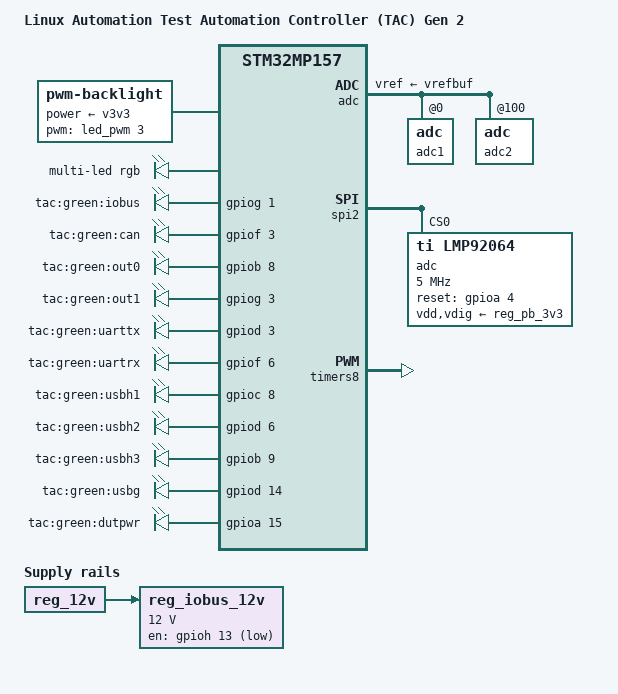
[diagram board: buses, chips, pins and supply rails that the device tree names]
// SPDX-License-Identifier: (GPL-2.0-or-later OR BSD-3-Clause)
/*
 * Copyright (C) 2020 STMicroelectronics - All Rights Reserved
 * Copyright (C) 2021 Rouven Czerwinski, Pengutronix
 * Copyright (C) 2023 Leonard Göhrs, Pengutronix
 */

/dts-v1/;

#include "stm32mp157.dtsi"
#include "stm32mp15xc-lxa-tac.dtsi"

/ {
	model = "Linux Automation Test Automation Controller (TAC) Gen 2";
	compatible = "lxa,stm32mp157c-tac-gen2", "oct,stm32mp15xx-osd32", "st,stm32mp157";

	backlight: backlight {
		compatible = "pwm-backlight";
		power-supply = <&v3v3>;

		brightness-levels = <0 31 63 95 127 159 191 223 255>;
		default-brightness-level = <7>;
		pwms = <&led_pwm 3 1000000 0>;
	};

	reg_iobus_12v: regulator-iobus-12v {
		compatible = "regulator-fixed";
		vin-supply = <&reg_12v>;
		gpio = <&gpioh 13 GPIO_ACTIVE_LOW>;
		regulator-max-microvolt = <12000000>;
		regulator-min-microvolt = <12000000>;
		regulator-name = "12V_IOBUS";
	};

	led-controller-1 {
		compatible = "pwm-leds-multicolor";

		multi-led {
			color = <LED_COLOR_ID_RGB>;
			function = LED_FUNCTION_STATUS;
			max-brightness = <65535>;

			led-red {
				active-low;
				color = <LED_COLOR_ID_RED>;
				pwms = <&led_pwm 0 1000000 0>;
			};

			led-green {
				active-low;
				color = <LED_COLOR_ID_GREEN>;
				pwms = <&led_pwm 2 1000000 0>;
			};

			led-blue {
				active-low;
				color = <LED_COLOR_ID_BLUE>;
				pwms = <&led_pwm 1 1000000 0>;
			};
		};
	};

	led-controller-2 {
		compatible = "gpio-leds";

		led-5 {
			label = "tac:green:iobus";
			gpios = <&gpiog 1 GPIO_ACTIVE_HIGH>;
		};

		led-6 {
			label = "tac:green:can";
			gpios = <&gpiof 3 GPIO_ACTIVE_HIGH>;
		};

		led-7 {
			label = "tac:green:out0";
			gpios = <&gpiob 8 GPIO_ACTIVE_HIGH>;
		};

		led-8 {
			label = "tac:green:out1";
			gpios = <&gpiog 3 GPIO_ACTIVE_HIGH>;
		};

		led-9 {
			label = "tac:green:uarttx";
			gpios = <&gpiod 3 GPIO_ACTIVE_HIGH>;
		};

		led-10 {
			label = "tac:green:uartrx";
			gpios = <&gpiof 6 GPIO_ACTIVE_HIGH>;
		};

		led-11 {
			label = "tac:green:usbh1";
			gpios = <&gpioc 8 GPIO_ACTIVE_HIGH>;
		};

		led-12 {
			label = "tac:green:usbh2";
			gpios = <&gpiod 6 GPIO_ACTIVE_HIGH>;
		};

		led-13 {
			label = "tac:green:usbh3";
			gpios = <&gpiob 9 GPIO_ACTIVE_HIGH>;
		};

		led-14 {
			label = "tac:green:usbg";
			gpios = <&gpiod 14 GPIO_ACTIVE_HIGH>;
			linux,default-trigger = "usb-gadget";
		};

		led-15 {
			label = "tac:green:dutpwr";
			gpios = <&gpioa 15 GPIO_ACTIVE_HIGH>;
		};
	};
};

&adc {
	pinctrl-names = "default";
	pinctrl-0 = <&adc1_ain_pins_a>;
	vdd-supply = <&vdd>;
	vdda-supply = <&vdda>;
	vref-supply = <&vrefbuf>;
	status = "okay";

	adc1: adc@0 {
		st,adc-channels = <0 1 2 5 9 10 13 15>;
		st,min-sample-time-nsecs = <5000>;
		#address-cells = <1>;
		#size-cells = <0>;
		status = "okay";

		channel@0 {
			reg = <0>;
			label = "HOST_2_CURR_FB";
		};

		channel@1 {
			reg = <1>;
			label = "HOST_3_CURR_FB";
		};

		channel@2 {
			reg = <2>;
			label = "OUT_0_FB";
		};

		channel@5 {
			reg = <5>;
			label = "IOBUS_CURR_FB";
		};

		channel@9 {
			reg = <9>;
			label = "IOBUS_VOLT_FB";
		};

		channel@10 {
			reg = <10>;
			label = "OUT_1_FB";
		};

		channel@13 {
			reg = <13>;
			label = "HOST_CURR_FB";
		};

		channel@15 {
			reg = <15>;
			label = "HOST_1_CURR_FB";
		};
	};

	adc2: adc@100 {
		st,adc-channels = <12>;
		st,min-sample-time-nsecs = <500000>;
		#address-cells = <1>;
		#size-cells = <0>;
		status = "okay";

		channel@12 {
			reg = <12>;
			label = "TEMP_INTERNAL";
		};
	};
};

&gpioa {
	gpio-line-names = "", "", "DUT_PWR_EN", "", "STACK_CS3", /*  0 */
	"ETH_GPIO1", "ETH_INT", "", "", "",                      /*  5 */
	"", "", "", "BOOTROM_LED", "ETH_LAB_LEDRP",              /* 10 */
	"";                                                      /* 15 */
};

&gpioc {
	gpio-line-names = "", "DUT_PWR_DISCH", "", "", "", /*  0 */
	"", "", "", "", "",                                /*  5 */
	"", "";                                            /* 10 */
};

&gpioe {
	gpio-line-names = "TP35", "", "", "", "CAN_1_120R", /*  0 */
	"", "", "USER_BTN2", "TP48", "UART_TX_EN",          /*  5 */
	"UART_RX_EN", "TP24", "", "TP25", "TP26",           /* 10 */
	"TP27";                                             /* 15 */
};

&gpiog {
	gpio-line-names = "ETH_RESET", "", "", "", "",               /*  0 */
	"IOBUS_FLT_FB", "", "USER_LED2", "ETH1_PPS_A", "CAN_0_120R", /*  5 */
	"TP49", "", "", "", "",                                      /* 10 */
	"";                                                          /* 15 */
};

&gpu {
	status = "disabled";
};

&m_can2 {
	termination-gpios = <&gpioe 4 GPIO_ACTIVE_HIGH>;
	termination-ohms = <120>;
};

&spi2 {
	adc@0 {
		compatible = "ti,lmp92064";
		reg = <0>;

		reset-gpios = <&gpioa 4 (GPIO_ACTIVE_HIGH | GPIO_OPEN_DRAIN)>;
		shunt-resistor-micro-ohms = <15000>;
		spi-max-frequency = <5000000>;
		vdd-supply = <&reg_pb_3v3>;
		vdig-supply = <&reg_pb_3v3>;
	};
};

&timers8 {
	/* spare dmas for other usage */
	/delete-property/dmas;
	/delete-property/dma-names;

	status = "okay";

	led_pwm: pwm {
		pinctrl-names = "default", "sleep";
		pinctrl-0 = <&pwm8_pins_b>;
		pinctrl-1 = <&pwm8_sleep_pins_b>;
		status = "okay";
	};
};
